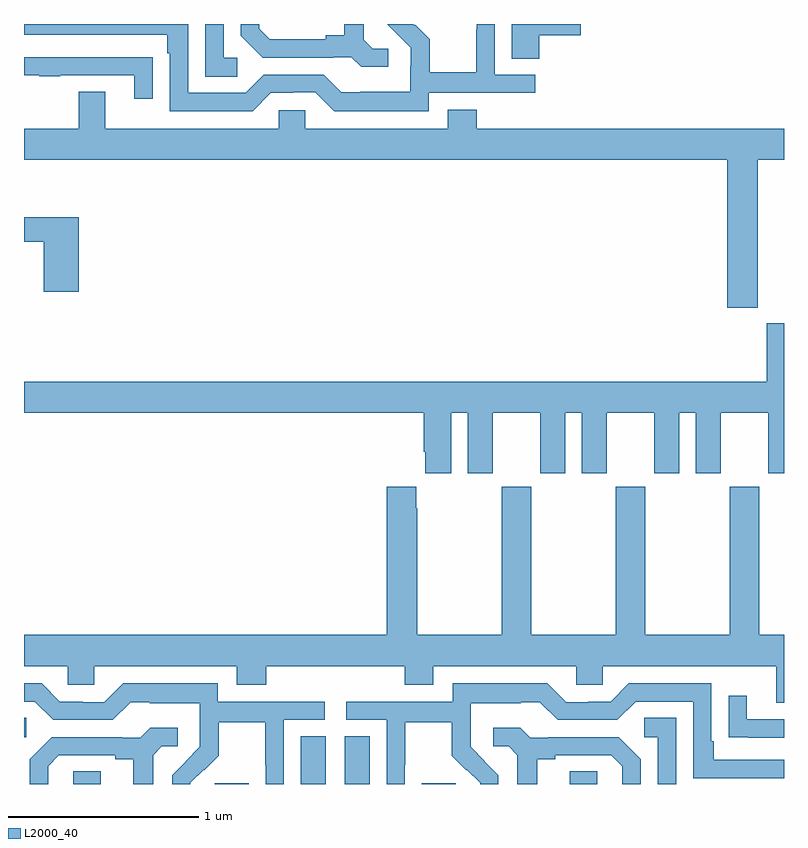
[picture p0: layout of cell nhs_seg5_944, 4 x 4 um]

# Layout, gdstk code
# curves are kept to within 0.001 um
import gdstk
lib = gdstk.Library(unit=1e-6, precision=1e-09)
def R(c, l, rs):  # rectangles x0, y0, x1, y1
    for r in rs: c.add(gdstk.rectangle(r[:2], r[2:], *l))
def P(c, l, *ps):  # polygons
    for p in ps: c.add(gdstk.Polygon(p, *l))
L2000_40 = (2000, 40)

nhs_seg5_944 = lib.new_cell('nhs_seg5_944')
R(nhs_seg5_944, L2000_40, [(171.258,862.799,171.403,862.865), (172.004,862.799,172.183,862.803), (172.457,862.799,172.588,863.051), (172.688,862.799,172.819,863.051), (173.093,862.799,173.272,862.803), (173.873,862.799,174.018,862.865), (171,863.046,171.013,863.147)])
P(nhs_seg5_944, L2000_40, [(173.13,866.436),(173.692,866.436),(173.692,866.532),(173.478,866.532),(173.478,866.799),(173.382,866.799),(173.382,866.768),(173.38,866.768),(173.38,866.545),(173.135,866.545),(173.135,866.719),(173.058,866.796),(173.055,866.793),(173.049,866.799),(172.913,866.799),(173.036,866.674),(173.036,866.577),(173.034,866.577),(173.034,866.443),(172.771,866.443),(172.771,866.439),(172.671,866.439),(172.578,866.532),(172.263,866.532),(172.167,866.436),(171.864,866.436),(171.864,866.799),(171,866.799),(171,866.742),(171.755,866.742),(171.755,866.645),(171.768,866.645),(171.768,866.34),(172.203,866.34),(172.299,866.436),(172.418,866.436),(172.418,866.439),(172.533,866.439),(172.633,866.339),(173.13,866.339)],
  [(172.918,866.67),(172.836,866.67),(172.789,866.717),(172.789,866.799),(172.685,866.799),(172.685,866.741),(172.589,866.741),(172.589,866.718),(172.294,866.718),(172.237,866.775),(172.237,866.799),(172.14,866.799),(172.14,866.738),(172.256,866.622),(172.628,866.622),(172.628,866.625),(172.722,866.625),(172.774,866.573),(172.918,866.573)],
  [(172.123,866.622),(172.05,866.622),(172.05,866.799),(171.954,866.799),(171.954,866.521),(172.123,866.521)],
  [(173.711,866.741),(173.929,866.741),(173.929,866.799),(173.567,866.799),(173.567,866.617),(173.711,866.617)],
  [(171.677,866.624),(171.575,866.624),(171.575,866.625),(171,866.625),(171,866.529),(171.079,866.529),(171.079,866.524),(171.191,866.524),(171.191,866.529),(171.581,866.529),(171.581,866.406),(171.677,866.406)],
  [(174.861,866.084),(175,866.084),(175,866.248),(173.384,866.248),(173.384,866.347),(173.231,866.347),(173.231,866.248),(172.479,866.248),(172.479,866.346),(172.341,866.346),(172.341,866.248),(171.427,866.248),(171.427,866.443),(171.287,866.443),(171.287,866.248),(171,866.248),(171,866.084),(174.701,866.084),(174.701,865.305),(174.861,865.305)],
  [(171.287,865.783),(171,865.783),(171,865.654),(171.104,865.654),(171.104,865.389),(171.287,865.389)],
  [(171,864.752),(173.105,864.752),(173.105,864.547),(173.111,864.547),(173.111,864.435),(173.248,864.435),(173.248,864.752),(173.336,864.752),(173.336,864.435),(173.467,864.435),(173.467,864.752),(173.717,864.752),(173.717,864.435),(173.848,864.435),(173.848,864.752),(173.936,864.752),(173.936,864.435),(174.067,864.435),(174.067,864.752),(174.317,864.752),(174.317,864.435),(174.448,864.435),(174.448,864.752),(174.536,864.752),(174.536,864.435),(174.667,864.435),(174.667,864.752),(174.917,864.752),(174.917,864.435),(175,864.435),(175,865.225),(174.908,865.225),(174.908,864.916),(171,864.916)],
  [(175,863.584),(174.87,863.584),(174.87,864.364),(174.715,864.364),(174.715,863.584),(174.27,863.584),(174.27,864.364),(174.115,864.364),(174.115,863.584),(173.67,863.584),(173.67,864.364),(173.515,864.364),(173.515,863.584),(173.07,863.584),(173.07,864.251),(173.065,864.251),(173.065,864.364),(172.91,864.364),(172.91,863.584),(171,863.584),(171,863.42),(171.231,863.42),(171.231,863.322),(171.369,863.322),(171.369,863.42),(172.121,863.42),(172.121,863.321),(172.274,863.321),(172.274,863.42),(173.003,863.42),(173.003,863.321),(173.155,863.321),(173.155,863.42),(173.907,863.42),(173.907,863.322),(174.045,863.322),(174.045,863.42),(174.959,863.42),(174.959,863.226),(175,863.226)],
  [(173.004,862.9),(173.007,862.9),(173.007,863.124),(173.251,863.124),(173.251,862.949),(173.328,862.872),(173.331,862.875),(173.402,862.805),(173.402,862.799),(173.496,862.799),(173.496,862.846),(173.35,862.994),(173.35,863.091),(173.352,863.091),(173.352,863.225),(173.615,863.225),(173.615,863.229),(173.715,863.229),(173.808,863.136),(174.123,863.136),(174.219,863.232),(174.522,863.232),(174.522,862.83),(175,862.83),(175,862.926),(174.631,862.926),(174.631,863.023),(174.618,863.023),(174.618,863.328),(174.183,863.328),(174.087,863.232),(173.969,863.232),(173.969,863.229),(173.853,863.229),(173.753,863.329),(173.256,863.329),(173.256,863.232),(172.695,863.232),(172.695,863.136),(172.908,863.136),(172.908,862.799),(173.004,862.799)],
  [(171.875,862.805),(171.945,862.875),(171.948,862.872),(172.025,862.949),(172.025,863.124),(172.27,863.124),(172.27,862.9),(172.272,862.9),(172.272,862.799),(172.368,862.799),(172.368,863.136),(172.582,863.136),(172.582,863.232),(172.02,863.232),(172.02,863.329),(171.523,863.329),(171.423,863.229),(171.308,863.229),(171.308,863.232),(171.189,863.232),(171.093,863.328),(171,863.328),(171,863.232),(171.057,863.232),(171.153,863.136),(171.468,863.136),(171.561,863.229),(171.661,863.229),(171.661,863.225),(171.924,863.225),(171.924,863.091),(171.926,863.091),(171.926,862.994),(171.78,862.846),(171.78,862.799),(171.875,862.799)],
  [(175,863.139),(174.805,863.139),(174.805,863.263),(174.709,863.263),(174.709,863.044),(174.811,863.044),(174.811,863.043),(175,863.043)],
  [(174.432,863.147),(174.264,863.147),(174.264,863.046),(174.336,863.046),(174.336,862.799),(174.432,862.799)],
  [(173.701,862.928),(173.797,862.928),(173.797,862.95),(174.092,862.95),(174.149,862.893),(174.149,862.799),(174.246,862.799),(174.246,862.93),(174.13,863.046),(173.758,863.046),(173.758,863.043),(173.664,863.043),(173.612,863.095),(173.469,863.095),(173.469,862.998),(173.55,862.998),(173.597,862.951),(173.597,862.799),(173.701,862.799)],
  [(171.127,862.893),(171.184,862.95),(171.479,862.95),(171.479,862.928),(171.575,862.928),(171.575,862.799),(171.679,862.799),(171.679,862.951),(171.726,862.998),(171.808,862.998),(171.808,863.095),(171.664,863.095),(171.612,863.043),(171.518,863.043),(171.518,863.046),(171.146,863.046),(171.03,862.93),(171.03,862.799),(171.127,862.799)])

lib.write_gds('nhs_seg5_944.gds')
